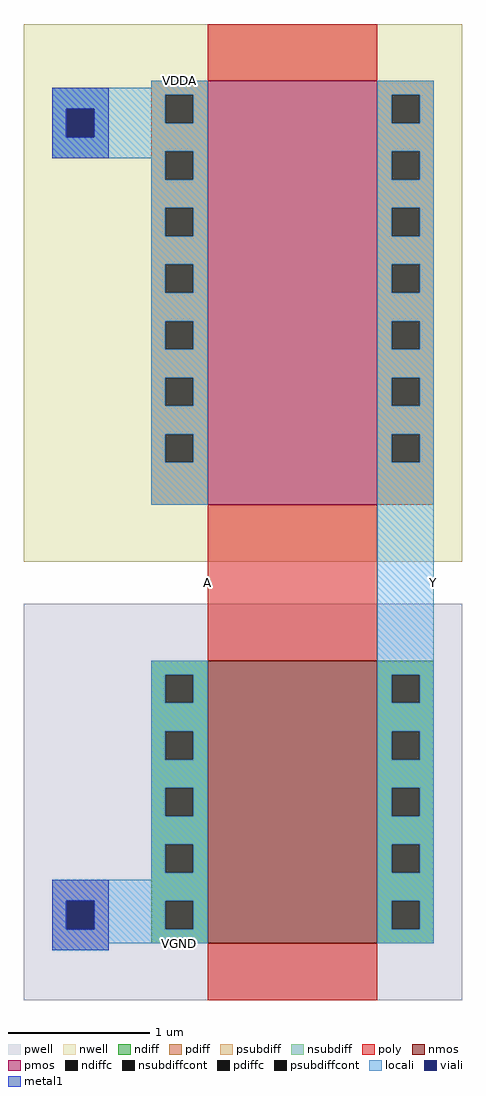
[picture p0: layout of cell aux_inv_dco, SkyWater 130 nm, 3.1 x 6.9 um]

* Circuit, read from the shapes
.subckt aux_inv_dco A Y VDDA VGND
XM1 Y A VGND VGND sky130_fd_pr__nfet_01v8 w=2 l=1.2
XM2 Y A VDDA VDDA sky130_fd_pr__pfet_01v8 w=3 l=1.2
.ends

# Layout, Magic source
magic
tech sky130A
<< nwell >>
rect -130 -40 180 340
<< pwell >>
rect -130 -350 180 -70
<< nmos >>
rect 0 -310 120 -110
<< pmos >>
rect 0 0 120 300
<< ndiff >>
rect -40 -120 0 -110
rect -40 -140 -30 -120
rect -10 -140 0 -120
rect -40 -160 0 -140
rect -40 -180 -30 -160
rect -10 -180 0 -160
rect -40 -200 0 -180
rect -40 -220 -30 -200
rect -10 -220 0 -200
rect -40 -240 0 -220
rect -40 -260 -30 -240
rect -10 -260 0 -240
rect -40 -280 0 -260
rect -40 -300 -30 -280
rect -10 -300 0 -280
rect -40 -310 0 -300
rect 120 -120 160 -110
rect 120 -140 130 -120
rect 150 -140 160 -120
rect 120 -160 160 -140
rect 120 -180 130 -160
rect 150 -180 160 -160
rect 120 -200 160 -180
rect 120 -220 130 -200
rect 150 -220 160 -200
rect 120 -240 160 -220
rect 120 -260 130 -240
rect 150 -260 160 -240
rect 120 -280 160 -260
rect 120 -300 130 -280
rect 150 -300 160 -280
rect 120 -310 160 -300
<< pdiff >>
rect -40 290 0 300
rect -40 270 -30 290
rect -10 270 0 290
rect -40 250 0 270
rect -40 230 -30 250
rect -10 230 0 250
rect -40 210 0 230
rect -40 190 -30 210
rect -10 190 0 210
rect -40 170 0 190
rect -40 150 -30 170
rect -10 150 0 170
rect -40 130 0 150
rect -40 110 -30 130
rect -10 110 0 130
rect -40 90 0 110
rect -40 70 -30 90
rect -10 70 0 90
rect -40 50 0 70
rect -40 30 -30 50
rect -10 30 0 50
rect -40 0 0 30
rect 120 290 160 300
rect 120 270 130 290
rect 150 270 160 290
rect 120 250 160 270
rect 120 230 130 250
rect 150 230 160 250
rect 120 210 160 230
rect 120 190 130 210
rect 150 190 160 210
rect 120 170 160 190
rect 120 150 130 170
rect 150 150 160 170
rect 120 130 160 150
rect 120 110 130 130
rect 150 110 160 130
rect 120 90 160 110
rect 120 70 130 90
rect 150 70 160 90
rect 120 50 160 70
rect 120 30 130 50
rect 150 30 160 50
rect 120 0 160 30
<< ndiffc >>
rect -30 -140 -10 -120
rect -30 -180 -10 -160
rect -30 -220 -10 -200
rect -30 -260 -10 -240
rect -30 -300 -10 -280
rect 130 -140 150 -120
rect 130 -180 150 -160
rect 130 -220 150 -200
rect 130 -260 150 -240
rect 130 -300 150 -280
<< pdiffc >>
rect -30 270 -10 290
rect -30 230 -10 250
rect -30 190 -10 210
rect -30 150 -10 170
rect -30 110 -10 130
rect -30 70 -10 90
rect -30 30 -10 50
rect 130 270 150 290
rect 130 230 150 250
rect 130 190 150 210
rect 130 150 150 170
rect 130 110 150 130
rect 130 70 150 90
rect 130 30 150 50
<< psubdiff >>
rect -110 -280 -70 -265
rect -110 -300 -100 -280
rect -80 -300 -70 -280
rect -110 -315 -70 -300
<< nsubdiff >>
rect -110 280 -70 295
rect -110 260 -100 280
rect -80 260 -70 280
rect -110 245 -70 260
<< psubdiffcont >>
rect -100 -300 -80 -280
<< nsubdiffcont >>
rect -100 260 -80 280
<< poly >>
rect 0 300 120 340
rect 0 -110 120 0
rect 0 -350 120 -310
<< locali >>
rect -40 295 0 300
rect -110 290 0 295
rect -110 280 -30 290
rect -110 260 -100 280
rect -80 270 -30 280
rect -10 270 0 290
rect -80 260 0 270
rect -110 250 0 260
rect -110 245 -30 250
rect -40 230 -30 245
rect -10 230 0 250
rect -40 210 0 230
rect -40 190 -30 210
rect -10 190 0 210
rect -40 170 0 190
rect -40 150 -30 170
rect -10 150 0 170
rect -40 130 0 150
rect -40 110 -30 130
rect -10 110 0 130
rect -40 90 0 110
rect -40 70 -30 90
rect -10 70 0 90
rect -40 50 0 70
rect -40 30 -30 50
rect -10 30 0 50
rect -40 0 0 30
rect 120 290 160 300
rect 120 270 130 290
rect 150 270 160 290
rect 120 250 160 270
rect 120 230 130 250
rect 150 230 160 250
rect 120 210 160 230
rect 120 190 130 210
rect 150 190 160 210
rect 120 170 160 190
rect 120 150 130 170
rect 150 150 160 170
rect 120 130 160 150
rect 120 110 130 130
rect 150 110 160 130
rect 120 90 160 110
rect 120 70 130 90
rect 150 70 160 90
rect 120 50 160 70
rect 120 30 130 50
rect 150 30 160 50
rect -40 -120 0 -110
rect -40 -140 -30 -120
rect -10 -140 0 -120
rect -40 -160 0 -140
rect -40 -180 -30 -160
rect -10 -180 0 -160
rect -40 -200 0 -180
rect -40 -220 -30 -200
rect -10 -220 0 -200
rect -40 -240 0 -220
rect -40 -260 -30 -240
rect -10 -260 0 -240
rect -40 -265 0 -260
rect -110 -280 0 -265
rect -110 -300 -100 -280
rect -80 -300 -30 -280
rect -10 -300 0 -280
rect -110 -310 0 -300
rect 120 -120 160 30
rect 120 -140 130 -120
rect 150 -140 160 -120
rect 120 -160 160 -140
rect 120 -180 130 -160
rect 150 -180 160 -160
rect 120 -200 160 -180
rect 120 -220 130 -200
rect 150 -220 160 -200
rect 120 -240 160 -220
rect 120 -260 130 -240
rect 150 -260 160 -240
rect 120 -280 160 -260
rect 120 -300 130 -280
rect 150 -300 160 -280
rect 120 -310 160 -300
rect -110 -315 -70 -310
<< viali >>
rect -100 260 -80 280
rect -100 -300 -80 -280
<< metal1 >>
rect -110 280 -70 295
rect -110 260 -100 280
rect -80 260 -70 280
rect -110 245 -70 260
rect -110 -280 -70 -265
rect -110 -300 -100 -280
rect -80 -300 -70 -280
rect -110 -315 -70 -300
<< labels >>
rlabel poly 0 -55 0 -55 7 A
port 1 w
rlabel locali -20 300 -20 300 1 VDDA
port 3 n
rlabel locali -20 -310 -20 -310 5 VGND
port 4 s
rlabel locali 160 -55 160 -55 3 Y
port 2 e
<< end >>
